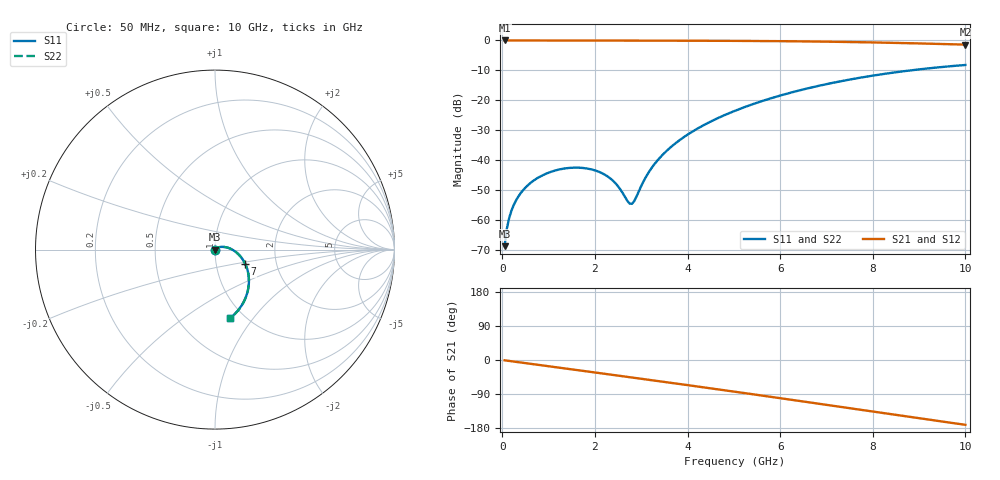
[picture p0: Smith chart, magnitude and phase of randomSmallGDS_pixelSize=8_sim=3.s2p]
! freq	dB(S11)	phase(S11)	dB(S12)	phase(S12)
!  dB(S21)	phase(S21)	dB(S22)	phase(S22)
!S-par simulation data
#  GHz  S  DB  R 50
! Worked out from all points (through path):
!   200 points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, 50 MHz to 10 GHz, reference 50 ohm
!   highest |S21| = 0.00 dB at 50 MHz (marker M1); lowest = -1.4 dB at 10 GHz (marker M2)
!   group delay of S21, straight-line fit = 47.7 ps
!   lowest |S11| = -68.6 dB at 50 MHz (marker M3), VSWR 1.00, Z = 50 - j0.0369 ohm
!   |S11| at or under -10 dB: start of sweep to 8.809 GHz
!   |S22| runs from -68.6 to -8.2 dB; largest |S21 - S12| = 0
!   S11 on the Smith chart (normalised r, x): 50 MHz: 1.00, -0.00; 7 GHz: 1.38, -0.23; 10 GHz: 0.87, -0.78
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0.05  -68.65 -87.4  -0.00 -0.8  -0.00 -0.8  -68.65 -87.4
0.1  -62.66 -90.4  -0.00 -1.7  -0.00 -1.7  -62.66 -90.4
0.2  -56.71 -93.5  -0.00 -3.3  -0.00 -3.3  -56.71 -93.5
0.35  -52.00 -97.0  -0.00 -5.8  -0.00 -5.8  -52.00 -97.0
0.5  -49.10 -100.1  -0.01 -8.3  -0.01 -8.3  -49.10 -100.1
0.75  -46.02 -105.1  -0.01 -12.4  -0.01 -12.4  -46.02 -105.1
1.05  -43.84 -111.0  -0.02 -17.3  -0.02 -17.3  -43.84 -111.0
1.75  -42.56 -126.1  -0.03 -28.8  -0.03 -28.8  -42.57 -126.1
2.05  -43.61 -134.2  -0.04 -33.7  -0.04 -33.7  -43.62 -134.2
2.3  -45.66 -143.6  -0.04 -37.9  -0.04 -37.9  -45.66 -143.6
2.5  -48.68 -156.7  -0.04 -41.2  -0.04 -41.2  -48.68 -156.6
2.75  -54.45 150.2  -0.05 -45.3  -0.05 -45.3  -54.46 150.2
2.8  -54.51 129.4  -0.05 -46.2  -0.05 -46.2  -54.53 129.4
3.15  -44.29 59.0  -0.06 -52.0  -0.06 -52.0  -44.29 59.0
3.4  -39.17 46.6  -0.06 -56.2  -0.06 -56.2  -39.17 46.6
4.1  -30.46 28.2  -0.09 -68.0  -0.09 -68.0  -30.46 28.2
5.05  -23.31 9.7  -0.14 -84.2  -0.14 -84.2  -23.31 9.7
5.85  -19.07 -4.8  -0.22 -98.1  -0.22 -98.1  -19.07 -4.8
6.7  -15.60 -20.1  -0.34 -113.0  -0.34 -113.0  -15.60 -20.1
7  -14.58 -25.4  -0.40 -118.4  -0.40 -118.4  -14.58 -25.4
8.35  -10.93 -49.2  -0.76 -142.3  -0.76 -142.3  -10.93 -49.2
10  -8.19 -77.2  -1.39 -171.0  -1.39 -171.0  -8.19 -77.2
